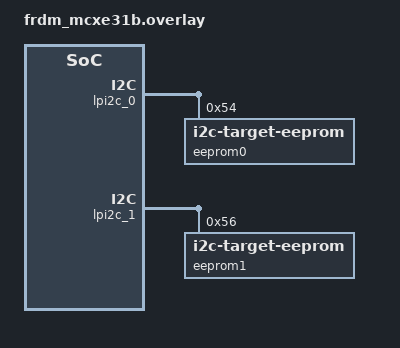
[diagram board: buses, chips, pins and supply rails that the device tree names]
/*
 * SPDX-FileCopyrightText: 2026 NXP
 * SPDX-License-Identifier: Apache-2.0
 */

/* LPI2C0 is remuxed from the default on-board sensor pins (PTD13/PTD14)
 * to PTC8/PTC9, which are exposed on header J8 next to the LPI2C1 pins,
 * so the two buses can be shorted with two jumpers on a single header.
 * The LPI2C1 on-board pull-ups (R15/R16) serve the shorted bus.
 *
 * To test this sample, connect
 * LPI2C0 SCL(J8-8, PTC8)    -->        LPI2C1 SCL(J8-3, PTC7)
 * LPI2C0 SDA(J8-6, PTC9)    -->        LPI2C1 SDA(J8-4, PTC6)
 */

&pinctrl {
	pinmux_lpi2c_0_j8: pinmux_lpi2c_0_j8 {
		group1 {
			pinmux = <(PTC9_LPI2C0_SDA_I | PTC9_LPI2C0_SDA_O)>,
				 <(PTC8_LPI2C0_SCL_I | PTC8_LPI2C0_SCL_O)>;
			input-enable;
			output-enable;
			bias-pull-up;
		};
	};
};

&lpi2c_0 {
	pinctrl-0 = <&pinmux_lpi2c_0_j8>;
	pinctrl-names = "default";

	eeprom0: eeprom@54 {
		compatible = "zephyr,i2c-target-eeprom";
		reg = <0x54>;
		size = <256>;
	};
};

&lpi2c_1 {
	eeprom1: eeprom@56 {
		compatible = "zephyr,i2c-target-eeprom";
		reg = <0x56>;
		size = <256>;
	};
};
